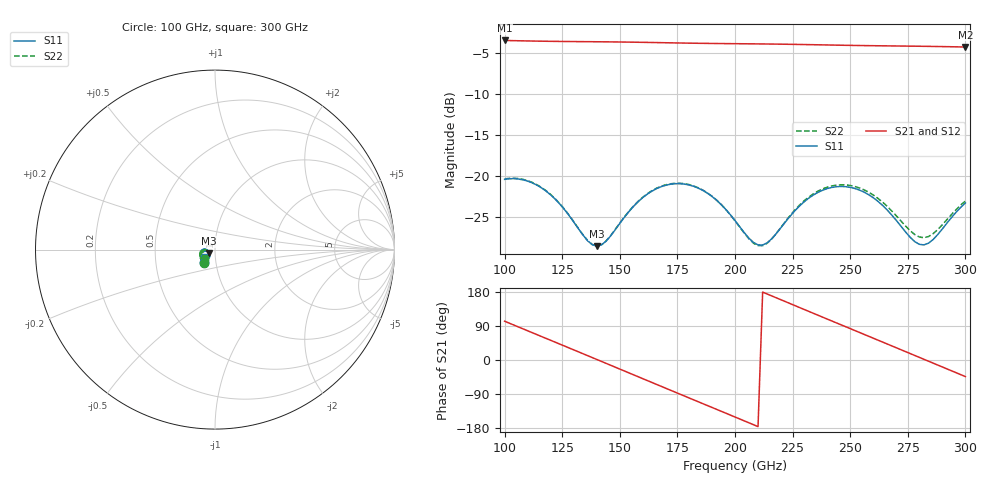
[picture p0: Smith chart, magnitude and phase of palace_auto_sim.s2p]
#  GHZ S DB R 50
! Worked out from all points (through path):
!   101 points, 100 GHz to 300 GHz, reference 50 ohm
!   highest |S21| = -3.50 dB at 100 GHz (marker M1); lowest = -4.3 dB at 300 GHz (marker M2)
!   group delay of S21, straight-line fit = 7.03 ps
!   lowest |S11| = -28.5 dB at 140 GHz (marker M3), VSWR 1.08, Z = 46.9 - j1.84 ohm
!   |S11| at or under -10 dB: start of sweep to end of sweep
!   |S22| runs from -28.5 to -20.2 dB; largest |S21 - S12| = 1.1e-13
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100  -20.38 -131.7  -3.50 102.3  -3.50 102.3  -20.33 -131.3
108  -20.44 -146.3  -3.55 82.2  -3.55 82.2  -20.39 -145.8
116  -21.42 -159.6  -3.59 62.0  -3.59 62.0  -21.37 -159.2
126  -24.06 -170.5  -3.62 36.8  -3.62 36.8  -24.02 -170.0
134  -27.15 -166.0  -3.64 16.6  -3.64 16.6  -27.12 -165.5
140  -28.51 -148.6  -3.66 1.4  -3.66 1.4  -28.48 -148.0
152  -24.99 -125.6  -3.69 -29.0  -3.69 -29.0  -24.94 -124.8
168  -21.27 -141.6  -3.77 -69.6  -3.77 -69.6  -21.22 -140.8
176  -20.91 -154.3  -3.81 -89.8  -3.81 -89.8  -20.86 -153.4
184  -21.44 -166.6  -3.84 -110.0  -3.84 -110.0  -21.40 -165.7
200  -25.39 -179.6  -3.89 -150.4  -3.89 -150.4  -25.42 -178.7
208  -28.05 -167.2  -3.91 -170.7  -3.91 -170.7  -28.14 -165.7
212  -28.36 -154.6  -3.92 179.1  -3.92 179.1  -28.45 -152.5
222  -25.52 -135.6  -3.96 153.7  -3.96 153.7  -25.46 -133.0
234  -22.29 -142.6  -4.02 123.3  -4.02 123.3  -22.14 -140.0
242  -21.37 -153.4  -4.06 103.0  -4.06 103.0  -21.19 -150.7
250  -21.36 -165.1  -4.10 82.8  -4.10 82.8  -21.13 -162.2
258  -22.24 -175.8  -4.13 62.6  -4.13 62.6  -21.94 -172.6
268  -24.71 176.8  -4.16 37.4  -4.16 37.4  -24.21 -179.8
282  -28.35 -159.3  -4.21 1.9  -4.21 1.9  -27.48 -159.2
290  -26.41 -140.7  -4.25 -18.4  -4.25 -18.4  -25.90 -142.4
300  -23.25 -140.7  -4.30 -43.7  -4.30 -43.7  -23.01 -141.4
